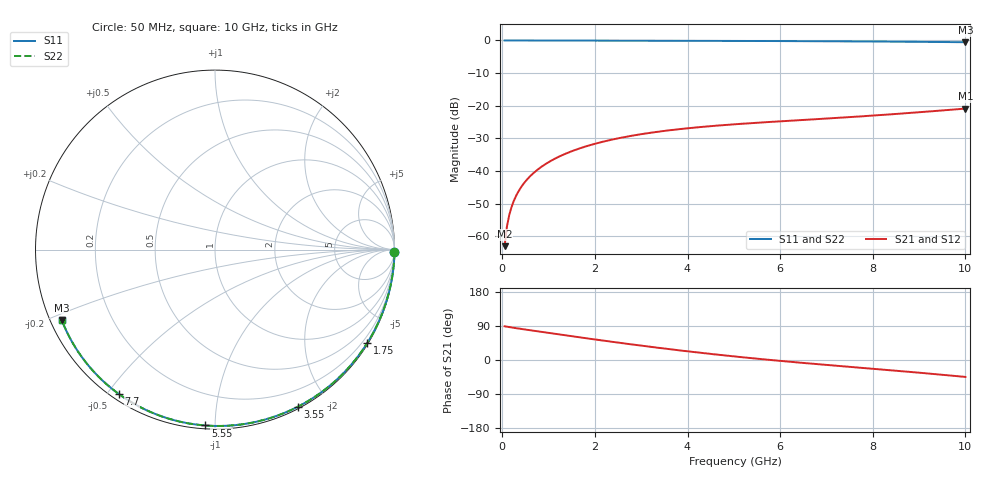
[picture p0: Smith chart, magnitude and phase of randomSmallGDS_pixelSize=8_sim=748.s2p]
! freq	dB(S11)	phase(S11)	dB(S12)	phase(S12)
!  dB(S21)	phase(S21)	dB(S22)	phase(S22)
!S-par simulation data
#  GHz  S  DB  R 50
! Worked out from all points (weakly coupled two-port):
!   200 points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, 50 MHz to 10 GHz, reference 50 ohm
!   highest |S21| = -20.86 dB at 10 GHz (marker M1); lowest = -63.0 dB at 50 MHz (marker M2)
!   lowest |S11| = -0.5 dB at 10 GHz (marker M3), VSWR 32.19, Z = 1.63 - j10.9 ohm
!   |S11| at or under -10 dB: nowhere
!   |S22| runs from -0.5 to 0.0 dB; largest |S21 - S12| = 0
!   S11 on the Smith chart (normalised r, x): 50 MHz: open; 1.75 GHz: 0.03, -3.55; 3.55 GHz: 0.02, -1.66; 5.55 GHz: 0.02, -0.95; 7.7 GHz: 0.02, -0.53; 10 GHz: 0.03, -0.22
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0.05  -0.00 -0.9  -62.99 88.9  -62.99 88.9  -0.00 -0.9
0.1  -0.00 -1.8  -56.98 87.9  -56.98 87.9  -0.00 -1.8
0.15  -0.00 -2.8  -53.48 86.8  -53.48 86.8  -0.00 -2.8
0.2  -0.00 -3.7  -51.00 85.8  -51.00 85.8  -0.00 -3.7
0.25  -0.00 -4.6  -49.08 84.9  -49.08 84.9  -0.00 -4.6
0.35  -0.00 -6.4  -46.20 83.0  -46.20 83.0  -0.00 -6.4
0.5  -0.01 -9.1  -43.15 80.4  -43.15 80.4  -0.01 -9.1
0.7  -0.01 -12.8  -40.28 76.8  -40.28 76.8  -0.01 -12.8
1  -0.02 -18.2  -37.27 71.5  -37.27 71.5  -0.02 -18.2
1.35  -0.03 -24.4  -34.77 65.4  -34.77 65.4  -0.03 -24.4
1.75  -0.04 -31.5  -32.68 58.5  -32.68 58.5  -0.04 -31.5
2.5  -0.06 -44.5  -29.97 45.9  -29.97 45.9  -0.06 -44.5
3.4  -0.09 -59.6  -27.88 31.7  -27.88 31.7  -0.09 -59.6
3.55  -0.09 -62.1  -27.61 29.5  -27.61 29.5  -0.09 -62.0
4.3  -0.11 -74.1  -26.49 18.8  -26.49 18.8  -0.11 -74.0
5.05  -0.14 -85.6  -25.63 8.9  -25.63 8.9  -0.14 -85.6
5.55  -0.16 -93.1  -25.16 2.9  -25.16 2.9  -0.16 -93.1
6.7  -0.22 -109.8  -24.17 -9.9  -24.17 -9.9  -0.22 -109.7
7.7  -0.30 -123.7  -23.29 -20.1  -23.29 -20.1  -0.30 -123.7
8.35  -0.35 -132.7  -22.66 -26.7  -22.66 -26.7  -0.35 -132.6
9.2  -0.44 -144.3  -21.76 -35.6  -21.76 -35.6  -0.44 -144.2
10  -0.54 -155.4  -20.86 -44.7  -20.86 -44.7  -0.54 -155.3
